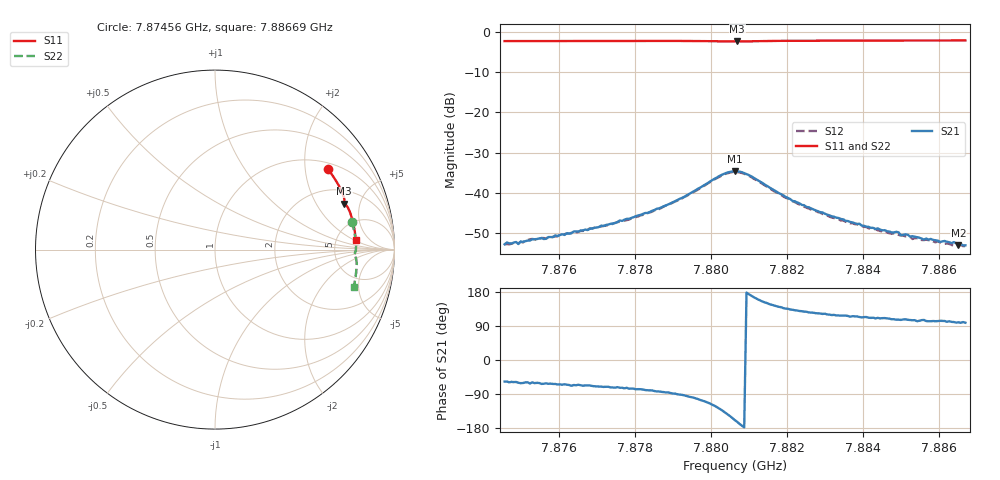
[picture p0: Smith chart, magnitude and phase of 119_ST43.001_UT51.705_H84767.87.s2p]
#  HZ  S  DB  R  50.00
! Rohde & Schwarz Vector Network Analyzer
! Rohde-Schwarz,ZNB20-2Port,1311601062101988,3.16
! Created: UTC 1/12/2023, 6:38:06 PM
! freq[Hz]  db:S11  ang:S11  db:S21  ang:S21  db:S12  ang:S12  db:S22  ang:S22
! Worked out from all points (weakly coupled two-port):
!   201 points, 7.87456 GHz to 7.88669 GHz, reference 50 ohm
!   highest |S21| = -34.60 dB at 7.88062 GHz (marker M1); lowest = -53.1 dB at 7.88651 GHz (marker M2)
!   lowest |S11| = -2.3 dB at 7.88068 GHz (marker M3), VSWR 7.47, Z = 145 + j178 ohm
!   |S11| at or under -10 dB: nowhere
!   |S22| runs from -2.2 to -1.9 dB; largest |S21 - S12| = 0.0012
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7.874558e9  -2.25 35.7  -52.78 -56.9  -52.81 -60.9  -2.18 11.6
7.874861e9  -2.24 34.8  -52.21 -58.0  -52.60 -63.4  -2.17 10.9
7.874922e9  -2.24 34.7  -52.72 -60.1  -52.52 -60.3  -2.18 10.7
7.874982e9  -2.24 34.5  -52.08 -61.1  -52.16 -60.5  -2.17 10.6
7.875649e9  -2.23 32.7  -51.42 -61.6  -51.34 -66.6  -2.15 9.0
7.87662e9  -2.21 30.0  -49.32 -68.0  -49.46 -71.1  -2.13 6.7
7.877651e9  -2.20 27.2  -46.96 -73.1  -47.15 -76.4  -2.10 4.3
7.878622e9  -2.19 24.5  -43.85 -83.0  -44.03 -86.4  -2.08 2.0
7.879289e9  -2.21 22.6  -40.99 -93.3  -40.98 -97.0  -2.09 0.4
7.880199e9  -2.30 20.2  -35.86 -127.6  -36.02 -131.3  -2.18 -1.7
7.880623e9  -2.34 19.6  -34.60 -159.0  -34.83 -162.3  -2.23 -2.0
7.880684e9  -2.34 19.6  -34.66 -163.5  -34.85 -167.1  -2.23 -2.1
7.880987e9  -2.30 19.2  -35.56 173.6  -35.75 170.3  -2.19 -2.3
7.882139e9  -2.17 16.2  -42.01 132.6  -42.07 129.0  -2.04 -4.8
7.882685e9  -2.14 14.6  -44.11 124.8  -44.39 121.4  -2.01 -6.1
7.883959e9  -2.12 11.2  -48.14 112.4  -48.24 109.9  -1.98 -9.0
7.884687e9  -2.11 9.3  -49.60 109.1  -50.04 105.7  -1.97 -10.6
7.885597e9  -2.10 6.9  -51.60 105.7  -51.73 103.6  -1.95 -12.6
7.886385e9  -2.09 4.9  -52.24 100.1  -53.17 96.5  -1.94 -14.2
7.886506e9  -2.09 4.5  -53.07 99.5  -53.20 95.7  -1.94 -14.5
7.886567e9  -2.09 4.4  -52.70 98.1  -52.94 97.1  -1.95 -14.6
7.886688e9  -2.09 4.1  -53.03 98.3  -53.23 95.0  -1.94 -14.9
